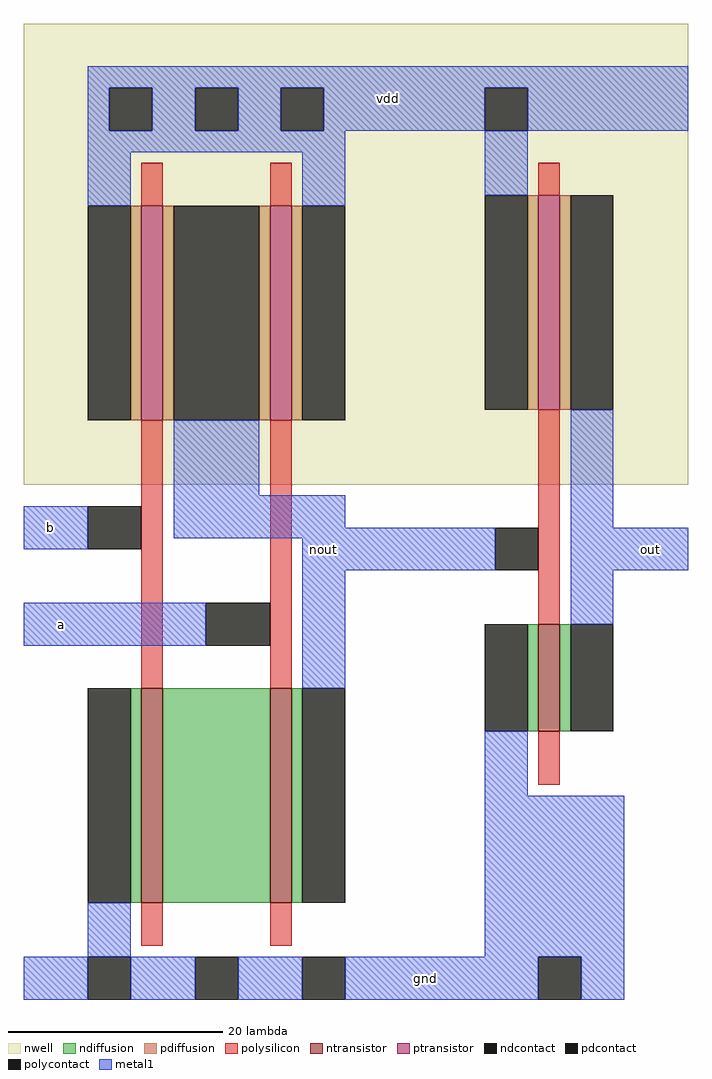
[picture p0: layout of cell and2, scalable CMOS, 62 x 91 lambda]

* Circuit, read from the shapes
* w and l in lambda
.subckt and2 a b gnd nout out vdd
M1 n1 b gnd VSUBS nfet w=20 l=2
M2 nout a n1 VSUBS nfet w=20 l=2
M3 out nout gnd VSUBS nfet w=10 l=2
M4 nout b vdd n2 pfet w=20 l=2
M5 vdd a nout n2 pfet w=20 l=2
M6 out nout vdd n2 pfet w=20 l=2
.ends

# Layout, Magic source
magic
tech scmos
<< nwell >>
rect -22 -17 40 26
<< ntransistor >>
rect -11 -56 -9 -36
rect 1 -56 3 -36
rect 26 -40 28 -30
<< ptransistor >>
rect -11 -11 -9 9
rect 1 -11 3 9
rect 26 -10 28 10
<< ndiffusion >>
rect -12 -56 -11 -36
rect -9 -56 1 -36
rect 3 -56 4 -36
rect 25 -40 26 -30
rect 28 -40 29 -30
<< pdiffusion >>
rect -12 -11 -11 9
rect -9 -11 -8 9
rect 0 -11 1 9
rect 3 -11 4 9
rect 25 -10 26 10
rect 28 -10 29 10
<< ndcontact >>
rect -16 -56 -12 -36
rect 4 -56 8 -36
rect 21 -40 25 -30
rect 29 -40 33 -30
rect -16 -65 -12 -61
rect -6 -65 -2 -61
rect 4 -65 8 -61
rect 26 -65 30 -61
<< pdcontact >>
rect -14 16 -10 20
rect -6 16 -2 20
rect 2 16 6 20
rect 21 16 25 20
rect -16 -11 -12 9
rect -8 -11 0 9
rect 4 -11 8 9
rect 21 -10 25 10
rect 29 -10 33 10
<< polysilicon >>
rect -11 9 -9 13
rect 1 9 3 13
rect 26 10 28 13
rect -11 -36 -9 -11
rect 1 -36 3 -11
rect 26 -30 28 -10
rect 26 -45 28 -40
rect -11 -60 -9 -56
rect 1 -60 3 -56
<< polycontact >>
rect -16 -23 -11 -19
rect -5 -32 1 -28
rect 22 -25 26 -21
<< metal1 >>
rect -16 20 40 22
rect -16 16 -14 20
rect -10 16 -6 20
rect -2 16 2 20
rect 6 16 21 20
rect 25 16 40 20
rect -16 14 8 16
rect -16 9 -12 14
rect 4 9 8 14
rect 21 10 25 16
rect -8 -18 0 -11
rect -22 -23 -16 -19
rect -8 -21 8 -18
rect 29 -21 33 -10
rect -8 -22 22 -21
rect 4 -25 22 -22
rect 29 -25 40 -21
rect -22 -32 -5 -28
rect 4 -36 8 -25
rect 29 -30 33 -25
rect 21 -46 25 -40
rect -16 -61 -12 -56
rect 21 -61 34 -46
rect -22 -65 -16 -61
rect -12 -65 -6 -61
rect -2 -65 4 -61
rect 8 -65 26 -61
rect 30 -65 34 -61
<< labels >>
rlabel metal1 11 -65 20 -61 1 gnd
rlabel metal1 4 -25 8 -21 1 nout
rlabel metal1 33 -25 40 -21 7 out
rlabel metal1 -22 -23 -17 -19 3 b
rlabel metal1 -22 -32 -15 -28 3 a
rlabel metal1 8 16 16 22 1 vdd
<< end >>
